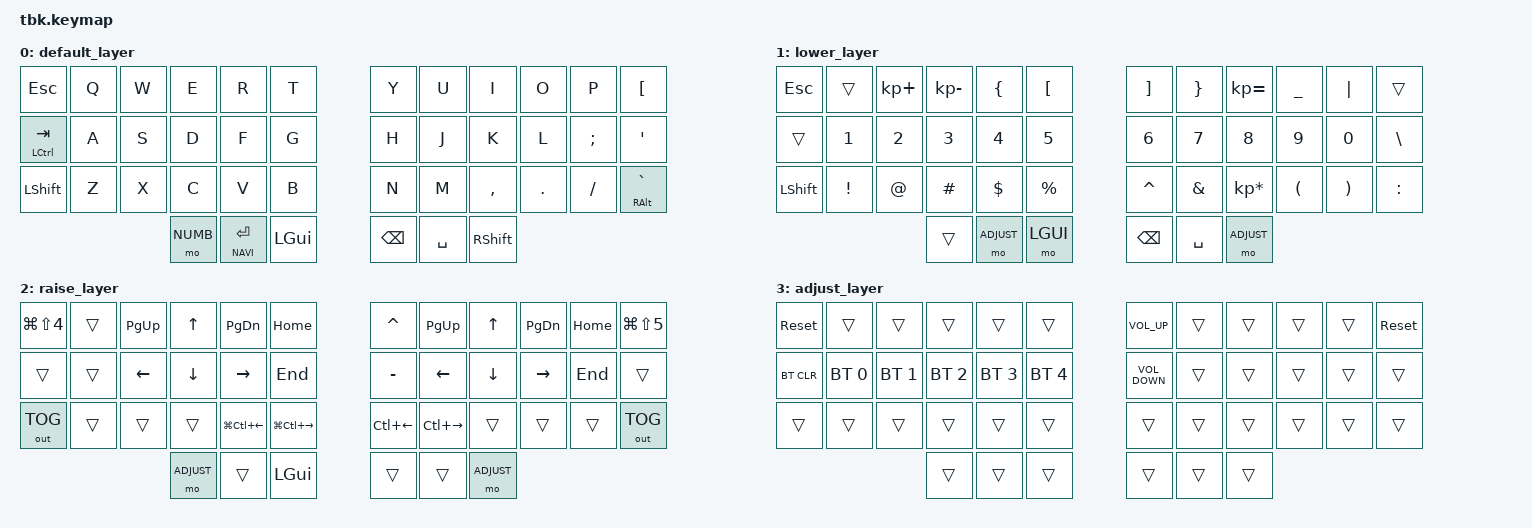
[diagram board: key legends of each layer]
/*
 * Copyright (c) 2020 The ZMK Contributors
 *
 * SPDX-License-Identifier: MIT
 * To use home rows - &hm LSHFT F
 */

#include <behaviors.dtsi>
#include <dt-bindings/zmk/keys.h>
#include <dt-bindings/zmk/bt.h>
#include <dt-bindings/zmk/ext_power.h>
#include <dt-bindings/zmk/outputs.h>

#define QWERTY 0
#define NUMB 1
#define NAVI 2
#define ADJUST 3

&lt { quick_tap_ms = <200>; };
&mt { quick_tap_ms = <200>; };

/ {

        keymap {
                compatible = "zmk,keymap";

                default_layer {
// .--------------------------------------------------------------.       .-----------------------------------------------------------.
// |   ESC        |    Q    |    W   |   E    |    R    |    T    |       |   Y   |    U    |    I    |    O    |     P    |    [     |
// |--------------+---------+--------+--------+---------+---------|       |-------+---------+---------+---------+----------+----------|
// |   CTRL/Tab   |    A    |    S   |   D    |    F    |    G    |       |   H   |    J    |    K    |    L    |     ;    |     '    |
// |--------------+---------+--------+--------+---------+---------|       |-------+---------+---------+---------+----------+----------|
// |   SHFT       |    Z    |    X   |   C    |    V    |    B    |       |   N   |    M    |    ,    |    .    |     /    | ` | ALT  |
// '---------------------------------+--------+---------+---------+       |-------+---------+---------+-------------------------------'
//                                   |  MO1   |   ENT   |    GUI  |       |  BKSP |  SPC    |   SHFT  |
//                                   '--------+---------+---------'       '-------+---------+---------'
                        bindings = <
   &kp ESC         &kp Q     &kp W    &kp E     &kp R     &kp T           &kp Y      &kp U     &kp I      &kp O    &kp P     &kp LEFT_BRACKET
   &mt LCTRL TAB   &kp A     &kp S    &kp D     &kp F     &kp G           &kp H      &kp J     &kp K      &kp L    &kp SEMI  &kp SQT
   &kp LSHFT       &kp Z     &kp X    &kp C     &kp V     &kp B           &kp N      &kp M     &kp COMMA  &kp DOT  &kp FSLH  &mt RALT GRAVE
                                 &mo NUMB  &lt NAVI RET   &kp LGUI     &kp BSPC   &kp SPACE  &kp RSHFT  
                        >;
                };
                
                lower_layer {
// .--------------------------------------------------------------.       .-----------------------------------------------------------.
// |   ESC        |         |    +   |   -    |    {    |    [    |       |   ]   |    }    |    =    |    _    |    |     |          |
// |--------------+---------+--------+--------+---------+---------|       |-------+---------+---------+---------+----------+----------|
// |              |    1    |    2   |   3    |    4    |    5    |       |   6   |    7    |    8    |    9    |     0    |    \     |
// |--------------+---------+--------+--------+---------+---------|       |-------+---------+---------+---------+----------+----------|
// |   SHFT       |    !    |    @   |   #    |    $    |    %    |       |   ^   |    &    |    *    |    (    |     )    |     :    |
// '---------------------------------+--------+---------+---------+       |-------+---------+---------+-------------------------------'
//                                   |        |    MO3  |    GUI  |       |  BKSP |   SPC  |    MO3    |
//                                   '--------+---------+---------'       '-------+---------+---------'
                        bindings = <
   &kp ESC       &trans    &kp KP_PLUS &kp KP_MINUS &kp LEFT_BRACE &kp LEFT_BRACKET  &kp RIGHT_BRACKET        &kp RIGHT_BRACE            &kp KP_EQUAL           &kp UNDERSCORE           &kp PIPE     &trans
   &trans        &kp N1    &kp N2      &kp N3       &kp N4         &kp N5            &kp N6                   &kp N7                     &kp N8                 &kp N9                   &kp N0     &kp BSLH
   &kp LSHFT     &kp EXCL  &kp AT      &kp HASH     &kp DLLR       &kp PRCNT         &kp CARET                &kp AMPS                   &kp KP_MULTIPLY        &kp LPAR                 &kp RPAR   &kp COLON
                           &trans     &mo ADJUST       &mo LGUI        &kp BSPC         &kp SPACE                &mo ADJUST 
                        >;
                };
                
                raise_layer {
// .----------------------------------------------------------------.       .-----------------------------------------------------------------.
// |   CMD+SHIFT+4  |       |   PU   |   UP   |    PD    |   HOME   |       |  HOME   |    PU    |    UP   |   PD    |          | CMD+SHIFT+5 |
// |----------------+-------+--------+--------+----------+----------|       |---------+----------+---------+---------+----------+-------------|
// |                |       |  LEFT  |  DOWN  |   RIGHT  |   END    |       |  END    |   LEFT   |   DOWN  |  RIGHT  |          |             |
// |----------------+-------+--------+--------+----------+----------|       |---------+----------+---------+---------+----------+-------------|
// |     OUT_TOG    |       |        |        |CMD+CTR+<-|CMD+CTR+->|       |CTRL+LEFT|CTRL+RIGHT|         |         |          |   OUT_TOG   |
// '---------------------------------+--------+----------+----------+       |---------+----------+---------+----------------------------------'
//                                   |  MO3   |          |  GUI     |       |         |          |     MO3 |
//                                   '--------+----------+----------'       '---------+----------+---------'

                        bindings = <
   &kp LG(LS(N4))  &trans     &kp PAGE_UP        &kp UP_ARROW      &kp PAGE_DOWN       &kp HOME                &kp CARET            &kp PAGE_UP             &kp UP_ARROW       &kp PAGE_DOWN      &kp HOME     &kp LG(LS(N5))
   &trans          &trans     &kp LEFT_ARROW     &kp DOWN_ARROW    &kp RIGHT_ARROW     &kp END                 &kp MINUS            &kp LEFT_ARROW          &kp DOWN_ARROW     &kp RIGHT_ARROW    &kp END      &trans
   &out OUT_TOG    &trans     &trans             &trans       &kp LG(LC(LEFT_ARROW)) &kp LG(LC(RIGHT_ARROW))   &kp LC(LEFT_ARROW)   &kp LC(RIGHT_ARROW)     &trans             &trans             &trans       &out OUT_TOG
                                                 &mo ADJUST         &trans            &kp LGUI                 &trans               &trans                  &mo ADJUST
                        >;
                };

                adjust_layer {
// .--------------------------------------------------------.       .--------------------------------------------------------------.
// |         |        |        |        |         |         |       |  VOL+  |        |         |         |          |             |
// |---------+--------+--------+--------+---------+---------|       |--------+--------+---------+---------+----------+-------------|
// |  BTCLR  |  BT1   |  BT2   |  BT3   |  BT4    |  BT5    |       |  VOL-  |        |         |         |          |             |
// |---------+--------+--------+--------+---------+---------|       |--------+--------+---------+---------+----------+-------------|
// |         |        |        |        |         |         |       |        |        |         |         |          |             |
// '---------------------------+--------+---------+---------+       |--------+--------+---------+----------------------------------'
//                             |        |         |         |       |        |        |         |
//                             '--------+---------+---------'       '--------+--------+---------'

                        bindings = <
   &sys_reset      &trans          &trans         &trans          &trans          &trans            &kp C_VOLUME_UP    &trans &trans &trans &trans &sys_reset
   &bt BT_CLR  &bt BT_SEL 0    &bt BT_SEL 1   &bt BT_SEL 2    &bt BT_SEL 3    &bt BT_SEL 4      &kp C_VOLUME_DOWN  &trans &trans &trans &trans &trans
   &trans      &trans          &trans         &trans          &trans          &trans            &trans             &trans &trans &trans &trans &trans
                                   &trans &trans &trans   &trans &trans &trans
                        >;
                };
        };
};
